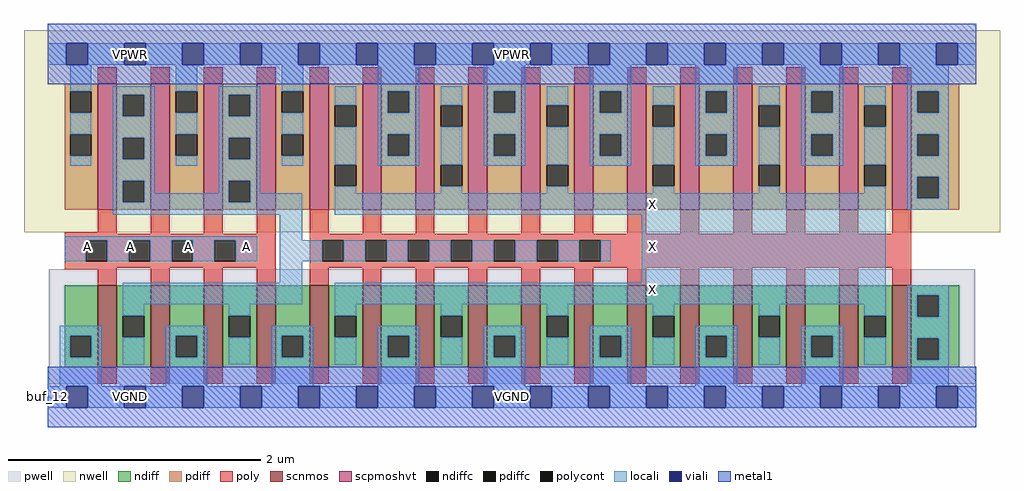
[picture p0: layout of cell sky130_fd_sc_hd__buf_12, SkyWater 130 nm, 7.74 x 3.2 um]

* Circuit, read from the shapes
.subckt sky130_fd_sc_hd__buf_12 A VGND VNB VPB VPWR X
XM1 n1 A VGND VNB sky130_fd_pr__nfet_01v8 w=0.65 l=0.15 m=4
XM2 X n1 VGND VNB sky130_fd_pr__nfet_01v8 w=0.65 l=0.15 m=12
XM3 n1 A VPWR VPB sky130_fd_pr__pfet_01v8_hvt w=1 l=0.15 m=4
XM4 X n1 VPWR VPB sky130_fd_pr__pfet_01v8_hvt w=1 l=0.15 m=12
.ends

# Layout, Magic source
magic
tech sky130B
magscale 1 2
<< nwell >>
rect -38 261 1510 582
<< pwell >>
rect 1 21 1471 203
rect 114 -17 148 21
<< scnmos >>
rect 79 47 109 177
rect 163 47 193 177
rect 247 47 277 177
rect 331 47 361 177
rect 415 47 445 177
rect 499 47 529 177
rect 583 47 613 177
rect 667 47 697 177
rect 751 47 781 177
rect 835 47 865 177
rect 919 47 949 177
rect 1003 47 1033 177
rect 1087 47 1117 177
rect 1171 47 1201 177
rect 1255 47 1285 177
rect 1339 47 1369 177
<< scpmoshvt >>
rect 79 297 109 497
rect 163 297 193 497
rect 247 297 277 497
rect 331 297 361 497
rect 415 297 445 497
rect 499 297 529 497
rect 583 297 613 497
rect 667 297 697 497
rect 751 297 781 497
rect 835 297 865 497
rect 919 297 949 497
rect 1003 297 1033 497
rect 1087 297 1117 497
rect 1171 297 1201 497
rect 1255 297 1285 497
rect 1339 297 1369 497
<< ndiff >>
rect 27 97 79 177
rect 27 63 35 97
rect 69 63 79 97
rect 27 47 79 63
rect 109 129 163 177
rect 109 95 119 129
rect 153 95 163 129
rect 109 47 163 95
rect 193 97 247 177
rect 193 63 203 97
rect 237 63 247 97
rect 193 47 247 63
rect 277 129 331 177
rect 277 95 287 129
rect 321 95 331 129
rect 277 47 331 95
rect 361 97 415 177
rect 361 63 371 97
rect 405 63 415 97
rect 361 47 415 63
rect 445 129 499 177
rect 445 95 455 129
rect 489 95 499 129
rect 445 47 499 95
rect 529 97 583 177
rect 529 63 539 97
rect 573 63 583 97
rect 529 47 583 63
rect 613 129 667 177
rect 613 95 623 129
rect 657 95 667 129
rect 613 47 667 95
rect 697 97 751 177
rect 697 63 707 97
rect 741 63 751 97
rect 697 47 751 63
rect 781 129 835 177
rect 781 95 791 129
rect 825 95 835 129
rect 781 47 835 95
rect 865 97 919 177
rect 865 63 875 97
rect 909 63 919 97
rect 865 47 919 63
rect 949 129 1003 177
rect 949 95 959 129
rect 993 95 1003 129
rect 949 47 1003 95
rect 1033 97 1087 177
rect 1033 63 1043 97
rect 1077 63 1087 97
rect 1033 47 1087 63
rect 1117 129 1171 177
rect 1117 95 1127 129
rect 1161 95 1171 129
rect 1117 47 1171 95
rect 1201 97 1255 177
rect 1201 63 1211 97
rect 1245 63 1255 97
rect 1201 47 1255 63
rect 1285 129 1339 177
rect 1285 95 1295 129
rect 1329 95 1339 129
rect 1285 47 1339 95
rect 1369 161 1445 177
rect 1369 127 1379 161
rect 1413 127 1445 161
rect 1369 93 1445 127
rect 1369 59 1379 93
rect 1413 59 1445 93
rect 1369 47 1445 59
<< pdiff >>
rect 27 485 79 497
rect 27 451 35 485
rect 69 451 79 485
rect 27 417 79 451
rect 27 383 35 417
rect 69 383 79 417
rect 27 297 79 383
rect 109 479 163 497
rect 109 445 119 479
rect 153 445 163 479
rect 109 411 163 445
rect 109 377 119 411
rect 153 377 163 411
rect 109 343 163 377
rect 109 309 119 343
rect 153 309 163 343
rect 109 297 163 309
rect 193 485 247 497
rect 193 451 203 485
rect 237 451 247 485
rect 193 417 247 451
rect 193 383 203 417
rect 237 383 247 417
rect 193 297 247 383
rect 277 479 331 497
rect 277 445 287 479
rect 321 445 331 479
rect 277 411 331 445
rect 277 377 287 411
rect 321 377 331 411
rect 277 343 331 377
rect 277 309 287 343
rect 321 309 331 343
rect 277 297 331 309
rect 361 485 415 497
rect 361 451 371 485
rect 405 451 415 485
rect 361 417 415 451
rect 361 383 371 417
rect 405 383 415 417
rect 361 297 415 383
rect 445 463 499 497
rect 445 429 455 463
rect 489 429 499 463
rect 445 368 499 429
rect 445 334 455 368
rect 489 334 499 368
rect 445 297 499 334
rect 529 485 583 497
rect 529 451 539 485
rect 573 451 583 485
rect 529 417 583 451
rect 529 383 539 417
rect 573 383 583 417
rect 529 297 583 383
rect 613 463 667 497
rect 613 429 623 463
rect 657 429 667 463
rect 613 368 667 429
rect 613 334 623 368
rect 657 334 667 368
rect 613 297 667 334
rect 697 485 751 497
rect 697 451 707 485
rect 741 451 751 485
rect 697 417 751 451
rect 697 383 707 417
rect 741 383 751 417
rect 697 297 751 383
rect 781 463 835 497
rect 781 429 791 463
rect 825 429 835 463
rect 781 368 835 429
rect 781 334 791 368
rect 825 334 835 368
rect 781 297 835 334
rect 865 485 919 497
rect 865 451 875 485
rect 909 451 919 485
rect 865 417 919 451
rect 865 383 875 417
rect 909 383 919 417
rect 865 297 919 383
rect 949 463 1003 497
rect 949 429 959 463
rect 993 429 1003 463
rect 949 368 1003 429
rect 949 334 959 368
rect 993 334 1003 368
rect 949 297 1003 334
rect 1033 485 1087 497
rect 1033 451 1043 485
rect 1077 451 1087 485
rect 1033 417 1087 451
rect 1033 383 1043 417
rect 1077 383 1087 417
rect 1033 297 1087 383
rect 1117 463 1171 497
rect 1117 429 1127 463
rect 1161 429 1171 463
rect 1117 368 1171 429
rect 1117 334 1127 368
rect 1161 334 1171 368
rect 1117 297 1171 334
rect 1201 485 1255 497
rect 1201 451 1211 485
rect 1245 451 1255 485
rect 1201 417 1255 451
rect 1201 383 1211 417
rect 1245 383 1255 417
rect 1201 297 1255 383
rect 1285 463 1339 497
rect 1285 429 1295 463
rect 1329 429 1339 463
rect 1285 368 1339 429
rect 1285 334 1295 368
rect 1329 334 1339 368
rect 1285 297 1339 334
rect 1369 485 1445 497
rect 1369 451 1379 485
rect 1413 451 1445 485
rect 1369 417 1445 451
rect 1369 383 1379 417
rect 1413 383 1445 417
rect 1369 349 1445 383
rect 1369 315 1379 349
rect 1413 315 1445 349
rect 1369 297 1445 315
<< ndiffc >>
rect 35 63 69 97
rect 119 95 153 129
rect 203 63 237 97
rect 287 95 321 129
rect 371 63 405 97
rect 455 95 489 129
rect 539 63 573 97
rect 623 95 657 129
rect 707 63 741 97
rect 791 95 825 129
rect 875 63 909 97
rect 959 95 993 129
rect 1043 63 1077 97
rect 1127 95 1161 129
rect 1211 63 1245 97
rect 1295 95 1329 129
rect 1379 127 1413 161
rect 1379 59 1413 93
<< pdiffc >>
rect 35 451 69 485
rect 35 383 69 417
rect 119 445 153 479
rect 119 377 153 411
rect 119 309 153 343
rect 203 451 237 485
rect 203 383 237 417
rect 287 445 321 479
rect 287 377 321 411
rect 287 309 321 343
rect 371 451 405 485
rect 371 383 405 417
rect 455 429 489 463
rect 455 334 489 368
rect 539 451 573 485
rect 539 383 573 417
rect 623 429 657 463
rect 623 334 657 368
rect 707 451 741 485
rect 707 383 741 417
rect 791 429 825 463
rect 791 334 825 368
rect 875 451 909 485
rect 875 383 909 417
rect 959 429 993 463
rect 959 334 993 368
rect 1043 451 1077 485
rect 1043 383 1077 417
rect 1127 429 1161 463
rect 1127 334 1161 368
rect 1211 451 1245 485
rect 1211 383 1245 417
rect 1295 429 1329 463
rect 1295 334 1329 368
rect 1379 451 1413 485
rect 1379 383 1413 417
rect 1379 315 1413 349
<< poly >>
rect 79 497 109 523
rect 163 497 193 523
rect 247 497 277 523
rect 331 497 361 523
rect 415 497 445 523
rect 499 497 529 523
rect 583 497 613 523
rect 667 497 697 523
rect 751 497 781 523
rect 835 497 865 523
rect 919 497 949 523
rect 1003 497 1033 523
rect 1087 497 1117 523
rect 1171 497 1201 523
rect 1255 497 1285 523
rect 1339 497 1369 523
rect 79 261 109 297
rect 27 259 109 261
rect 163 259 193 297
rect 247 259 277 297
rect 331 259 361 297
rect 27 249 361 259
rect 27 215 60 249
rect 94 215 128 249
rect 162 215 196 249
rect 230 215 264 249
rect 298 215 361 249
rect 27 205 361 215
rect 27 203 109 205
rect 79 177 109 203
rect 163 177 193 205
rect 247 177 277 205
rect 331 177 361 205
rect 415 259 445 297
rect 499 259 529 297
rect 583 259 613 297
rect 667 259 697 297
rect 751 259 781 297
rect 835 259 865 297
rect 919 259 949 297
rect 1003 259 1033 297
rect 1087 259 1117 297
rect 1171 259 1201 297
rect 1255 259 1285 297
rect 1339 259 1369 297
rect 415 249 1369 259
rect 415 215 435 249
rect 469 215 503 249
rect 537 215 571 249
rect 605 215 639 249
rect 673 215 707 249
rect 741 215 775 249
rect 809 215 843 249
rect 877 215 1369 249
rect 415 205 1369 215
rect 415 177 445 205
rect 499 177 529 205
rect 583 177 613 205
rect 667 177 697 205
rect 751 177 781 205
rect 835 177 865 205
rect 919 177 949 205
rect 1003 177 1033 205
rect 1087 177 1117 205
rect 1171 177 1201 205
rect 1255 177 1285 205
rect 1339 177 1369 205
rect 79 21 109 47
rect 163 21 193 47
rect 247 21 277 47
rect 331 21 361 47
rect 415 21 445 47
rect 499 21 529 47
rect 583 21 613 47
rect 667 21 697 47
rect 751 21 781 47
rect 835 21 865 47
rect 919 21 949 47
rect 1003 21 1033 47
rect 1087 21 1117 47
rect 1171 21 1201 47
rect 1255 21 1285 47
rect 1339 21 1369 47
<< polycont >>
rect 60 215 94 249
rect 128 215 162 249
rect 196 215 230 249
rect 264 215 298 249
rect 435 215 469 249
rect 503 215 537 249
rect 571 215 605 249
rect 639 215 673 249
rect 707 215 741 249
rect 775 215 809 249
rect 843 215 877 249
<< locali >>
rect 0 527 29 561
rect 63 527 121 561
rect 155 527 213 561
rect 247 527 305 561
rect 339 527 397 561
rect 431 527 489 561
rect 523 527 581 561
rect 615 527 673 561
rect 707 527 765 561
rect 799 527 857 561
rect 891 527 949 561
rect 983 527 1041 561
rect 1075 527 1133 561
rect 1167 527 1225 561
rect 1259 527 1317 561
rect 1351 527 1409 561
rect 1443 527 1472 561
rect 35 485 69 527
rect 35 417 69 451
rect 35 367 69 383
rect 103 479 169 493
rect 103 445 119 479
rect 153 445 169 479
rect 103 411 169 445
rect 103 377 119 411
rect 153 377 169 411
rect 103 343 169 377
rect 203 485 237 527
rect 203 417 237 451
rect 203 367 237 383
rect 271 479 337 493
rect 271 445 287 479
rect 321 445 337 479
rect 271 411 337 445
rect 271 377 287 411
rect 321 377 337 411
rect 103 309 119 343
rect 153 323 169 343
rect 271 343 337 377
rect 371 485 405 527
rect 371 417 405 451
rect 371 367 405 383
rect 455 463 489 493
rect 455 368 489 429
rect 271 323 287 343
rect 153 309 287 323
rect 321 323 337 343
rect 523 485 589 527
rect 523 451 539 485
rect 573 451 589 485
rect 523 417 589 451
rect 523 383 539 417
rect 573 383 589 417
rect 523 367 589 383
rect 623 463 657 493
rect 623 368 657 429
rect 455 323 489 334
rect 691 485 757 527
rect 691 451 707 485
rect 741 451 757 485
rect 691 417 757 451
rect 691 383 707 417
rect 741 383 757 417
rect 691 367 757 383
rect 791 463 825 493
rect 791 368 825 429
rect 623 323 657 334
rect 859 485 925 527
rect 859 451 875 485
rect 909 451 925 485
rect 859 417 925 451
rect 859 383 875 417
rect 909 383 925 417
rect 859 367 925 383
rect 959 463 993 493
rect 959 368 993 429
rect 791 323 825 334
rect 1027 485 1093 527
rect 1027 451 1043 485
rect 1077 451 1093 485
rect 1027 417 1093 451
rect 1027 383 1043 417
rect 1077 383 1093 417
rect 1027 367 1093 383
rect 1127 463 1161 493
rect 1127 368 1161 429
rect 959 323 993 334
rect 1195 485 1261 527
rect 1195 451 1211 485
rect 1245 451 1261 485
rect 1195 417 1261 451
rect 1195 383 1211 417
rect 1245 383 1261 417
rect 1195 367 1261 383
rect 1295 463 1329 493
rect 1295 368 1329 429
rect 1127 323 1161 334
rect 1295 323 1329 334
rect 321 309 403 323
rect 103 289 403 309
rect 455 289 1329 323
rect 1363 485 1429 527
rect 1363 451 1379 485
rect 1413 451 1429 485
rect 1363 417 1429 451
rect 1363 383 1379 417
rect 1413 383 1429 417
rect 1363 349 1429 383
rect 1363 315 1379 349
rect 1413 315 1429 349
rect 1363 297 1429 315
rect 27 249 332 255
rect 27 215 60 249
rect 94 215 128 249
rect 162 215 196 249
rect 230 215 264 249
rect 298 215 332 249
rect 368 249 403 289
rect 368 215 435 249
rect 469 215 503 249
rect 537 215 571 249
rect 605 215 639 249
rect 673 215 707 249
rect 741 215 775 249
rect 809 215 843 249
rect 877 215 893 249
rect 368 181 403 215
rect 942 181 1329 289
rect 119 147 403 181
rect 455 147 1329 181
rect 119 129 153 147
rect 19 97 85 113
rect 19 63 35 97
rect 69 63 85 97
rect 19 17 85 63
rect 287 129 321 147
rect 119 51 153 95
rect 187 97 253 113
rect 187 63 203 97
rect 237 63 253 97
rect 187 17 253 63
rect 455 129 489 147
rect 287 52 321 95
rect 355 97 421 113
rect 355 63 371 97
rect 405 63 421 97
rect 355 17 421 63
rect 623 129 657 147
rect 455 51 489 95
rect 523 97 589 113
rect 523 63 539 97
rect 573 63 589 97
rect 523 17 589 63
rect 791 129 825 147
rect 623 51 657 95
rect 691 97 757 113
rect 691 63 707 97
rect 741 63 757 97
rect 691 17 757 63
rect 959 129 993 147
rect 791 51 825 95
rect 859 97 925 113
rect 859 63 875 97
rect 909 63 925 97
rect 859 17 925 63
rect 1127 129 1161 147
rect 959 51 993 95
rect 1027 97 1093 113
rect 1027 63 1043 97
rect 1077 63 1093 97
rect 1027 17 1093 63
rect 1295 129 1329 147
rect 1127 51 1161 95
rect 1195 97 1261 113
rect 1195 63 1211 97
rect 1245 63 1261 97
rect 1195 17 1261 63
rect 1295 51 1329 95
rect 1363 161 1429 177
rect 1363 127 1379 161
rect 1413 127 1429 161
rect 1363 93 1429 127
rect 1363 59 1379 93
rect 1413 59 1429 93
rect 1363 17 1429 59
rect 0 -17 29 17
rect 63 -17 121 17
rect 155 -17 213 17
rect 247 -17 305 17
rect 339 -17 397 17
rect 431 -17 489 17
rect 523 -17 581 17
rect 615 -17 673 17
rect 707 -17 765 17
rect 799 -17 857 17
rect 891 -17 949 17
rect 983 -17 1041 17
rect 1075 -17 1133 17
rect 1167 -17 1225 17
rect 1259 -17 1317 17
rect 1351 -17 1409 17
rect 1443 -17 1472 17
<< viali >>
rect 29 527 63 561
rect 121 527 155 561
rect 213 527 247 561
rect 305 527 339 561
rect 397 527 431 561
rect 489 527 523 561
rect 581 527 615 561
rect 673 527 707 561
rect 765 527 799 561
rect 857 527 891 561
rect 949 527 983 561
rect 1041 527 1075 561
rect 1133 527 1167 561
rect 1225 527 1259 561
rect 1317 527 1351 561
rect 1409 527 1443 561
rect 29 -17 63 17
rect 121 -17 155 17
rect 213 -17 247 17
rect 305 -17 339 17
rect 397 -17 431 17
rect 489 -17 523 17
rect 581 -17 615 17
rect 673 -17 707 17
rect 765 -17 799 17
rect 857 -17 891 17
rect 949 -17 983 17
rect 1041 -17 1075 17
rect 1133 -17 1167 17
rect 1225 -17 1259 17
rect 1317 -17 1351 17
rect 1409 -17 1443 17
<< metal1 >>
rect 0 561 1472 592
rect 0 527 29 561
rect 63 527 121 561
rect 155 527 213 561
rect 247 527 305 561
rect 339 527 397 561
rect 431 527 489 561
rect 523 527 581 561
rect 615 527 673 561
rect 707 527 765 561
rect 799 527 857 561
rect 891 527 949 561
rect 983 527 1041 561
rect 1075 527 1133 561
rect 1167 527 1225 561
rect 1259 527 1317 561
rect 1351 527 1409 561
rect 1443 527 1472 561
rect 0 496 1472 527
rect 0 17 1472 48
rect 0 -17 29 17
rect 63 -17 121 17
rect 155 -17 213 17
rect 247 -17 305 17
rect 339 -17 397 17
rect 431 -17 489 17
rect 523 -17 581 17
rect 615 -17 673 17
rect 707 -17 765 17
rect 799 -17 857 17
rect 891 -17 949 17
rect 983 -17 1041 17
rect 1075 -17 1133 17
rect 1167 -17 1225 17
rect 1259 -17 1317 17
rect 1351 -17 1409 17
rect 1443 -17 1472 17
rect 0 -48 1472 -17
<< labels >>
flabel locali s 298 221 332 255 0 FreeSans 200 0 0 0 A
port 1 nsew signal input
flabel locali s 942 153 976 187 0 FreeSans 200 0 0 0 X
port 6 nsew signal output
flabel locali s 942 221 976 255 0 FreeSans 200 0 0 0 X
port 6 nsew signal output
flabel locali s 206 221 240 255 0 FreeSans 200 0 0 0 A
port 1 nsew signal input
flabel locali s 114 -17 148 17 0 FreeSans 200 0 0 0 VGND
port 2 nsew ground bidirectional abutment
flabel locali s 114 527 148 561 0 FreeSans 200 0 0 0 VPWR
port 5 nsew power bidirectional abutment
flabel locali s 942 289 976 323 0 FreeSans 200 0 0 0 X
port 6 nsew signal output
flabel locali s 114 221 148 255 0 FreeSans 200 0 0 0 A
port 1 nsew signal input
flabel locali s 46 221 80 255 0 FreeSans 200 0 0 0 A
port 1 nsew signal input
flabel nwell s 114 527 148 561 0 FreeSans 200 0 0 0 VPB
port 4 nsew power bidirectional
flabel pwell s 114 -17 148 17 0 FreeSans 200 0 0 0 VNB
port 3 nsew ground bidirectional
flabel metal1 s 114 -17 148 17 0 FreeSans 200 0 0 0 VGND
port 2 nsew ground bidirectional abutment
flabel metal1 s 114 527 148 561 0 FreeSans 200 0 0 0 VPWR
port 5 nsew power bidirectional abutment
rlabel comment s 0 0 0 0 4 buf_12
rlabel metal1 s 0 -48 1472 48 1 VGND
port 2 nsew ground bidirectional abutment
rlabel metal1 s 0 496 1472 592 1 VPWR
port 5 nsew power bidirectional abutment
<< properties >>
string FIXED_BBOX 0 0 1472 544
string GDS_END 3124572
string GDS_FILE $PDKPATH/libs.ref/sky130_fd_sc_hd/gds/sky130_fd_sc_hd.gds
string GDS_START 3113438
string LEFclass CORE
string LEFsite unithd
string LEFsymmetry X Y R90
string path 0.000 0.000 36.800 0.000 
<< end >>
